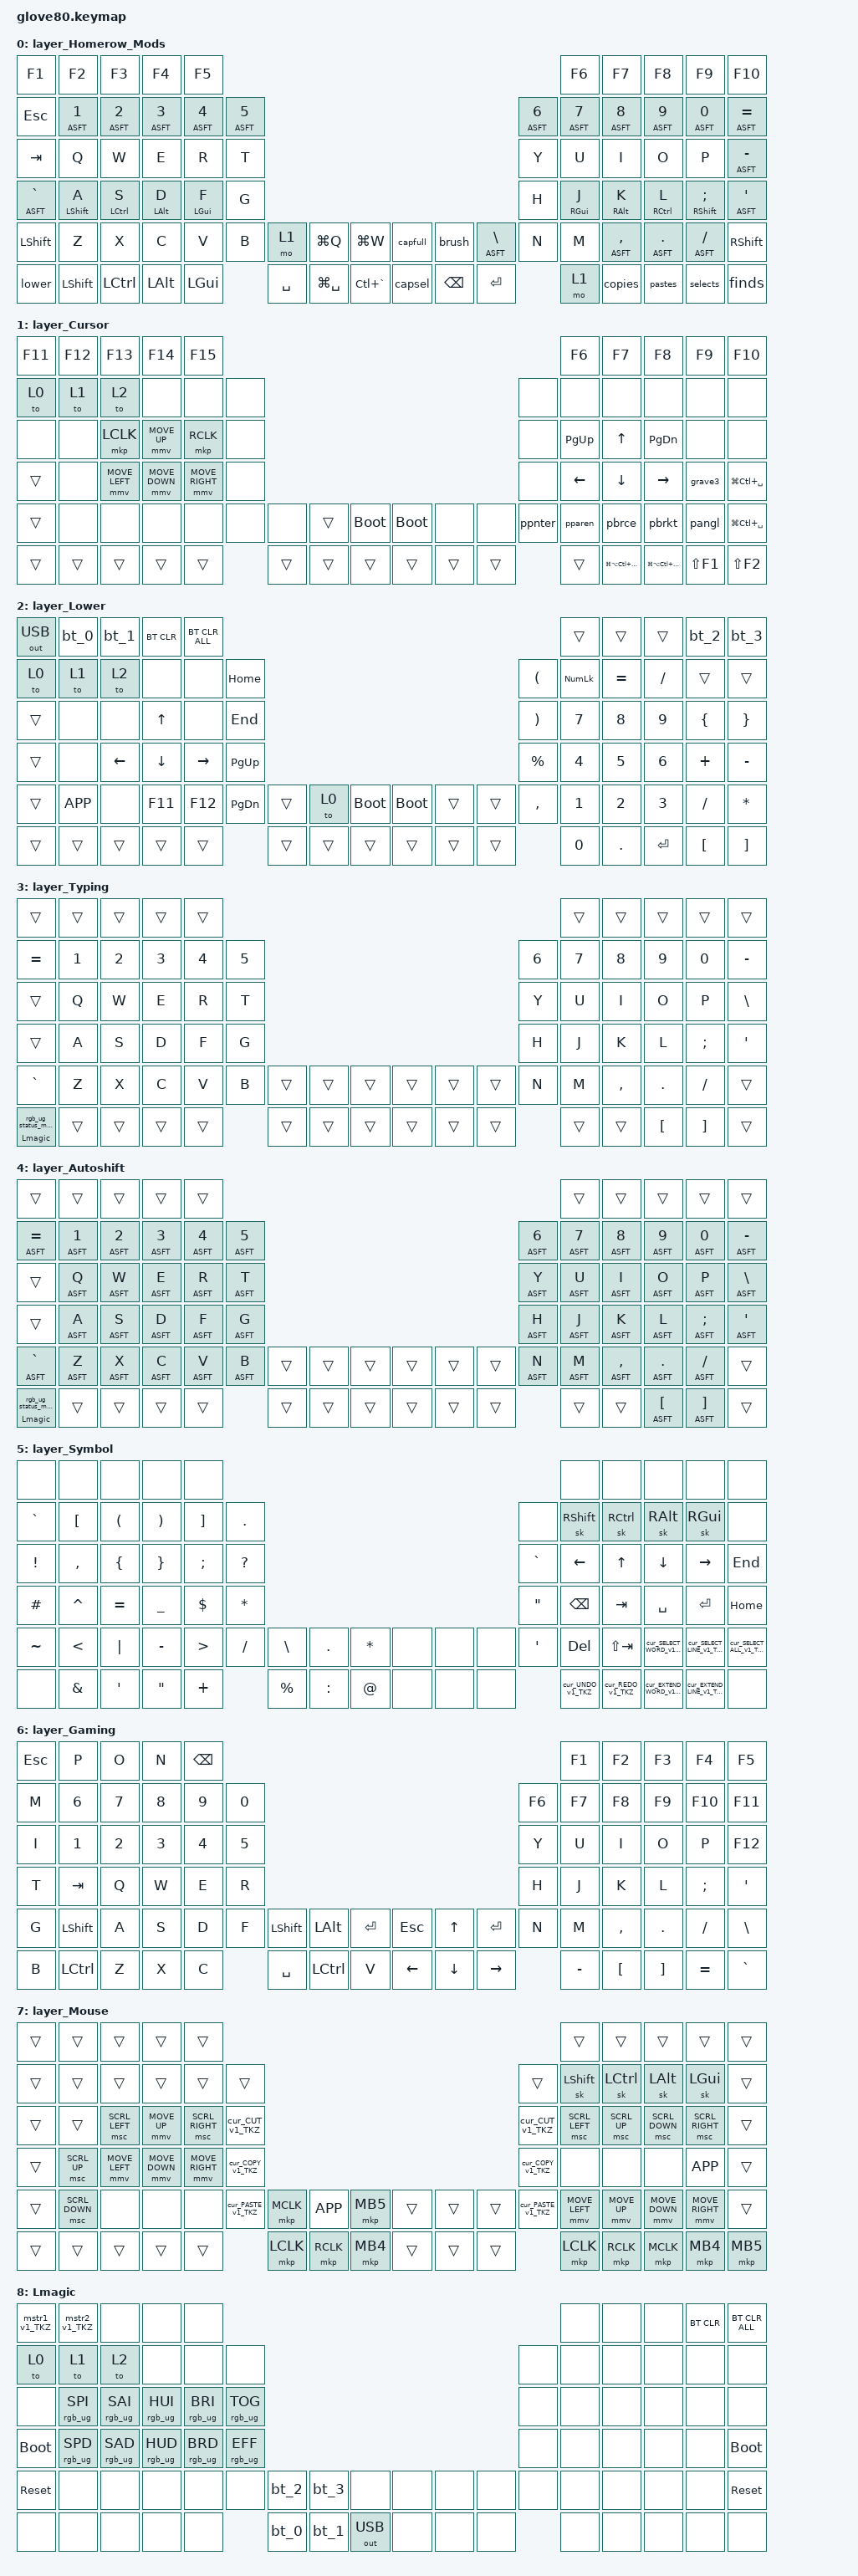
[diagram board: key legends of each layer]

/*
 * Copyright (c) 2020 The ZMK Contributors
 * Copyright (c) 2023 Innaworks Development Limited, trading as MoErgo
 *
 * SPDX-License-Identifier: MIT
 */


/* THIS FILE WAS GENERATED BY GLOVE80 LAYOUT EDITOR
 *
 * This file was generated automatically. You may or may not want to
 * edit it directly.
 */

#include <behaviors.dtsi>
/* Include all behavior includes needed */
#include <dt-bindings/zmk/outputs.h>
#include <dt-bindings/zmk/keys.h>
#include <dt-bindings/zmk/bt.h>
#include <dt-bindings/zmk/rgb.h>

/* On demand includes */
#include <dt-bindings/zmk/pointing.h>

/* Automatically generated layer name #define */
#define LAYER_Homerow_Mods 0
#define LAYER_Cursor 1
#define LAYER_Lower 2
#define LAYER_Typing 3
#define LAYER_Autoshift 4
#define LAYER_Symbol 5
#define LAYER_Gaming 6
#define LAYER_Mouse 7
#define Lmagic 8

/* To deal with the situation where there is no Lower layer, to keep &lower happy */
#ifndef LAYER_Lower
#define LAYER_Lower 0
#endif

/* Custom Device-tree */



/* Glove80 system behavior & macros */
/ {
    behaviors {
        // For the "layer" key, it'd nice to be able to use it as either a shift or a toggle.
        // Configure it as a tap dance, so the first tap (or hold) is a &mo and the second tap is a &to
        lower: lower {
            compatible = "zmk,behavior-tap-dance";
            label = "LAYER_TAP_DANCE";
            #binding-cells = <0>;
            tapping-term-ms = <200>;
            bindings = <&mo LAYER_Lower>, <&to LAYER_Lower>;
        };
    };
};

/ {
    behaviors {
        f1esc: f1esc {
            compatible = "zmk,behavior-tap-dance";
            #binding-cells = <0>;
            tapping-term-ms = <200>;
            bindings = <&kp F1>, <&kp ESC>;
        };
    };
};

/ {
    behaviors {
        f10undo: f10undo {
            compatible = "zmk,behavior-tap-dance";
            #binding-cells = <0>;
            tapping-term-ms = <200>;
            bindings = <&kp F10>, <&kp LG(Z)>;
        };
    };
};


/ {
    behaviors {
        copies: copies {
            compatible = "zmk,behavior-tap-dance";
            #binding-cells = <0>;
            tapping-term-ms = <200>;
            bindings = <&kp LG(C)>, <&kp LG(X)>;
        };
    };
};

/ {
    behaviors {
        pastes: pastes {
            compatible = "zmk,behavior-tap-dance";
            #binding-cells = <0>;
            tapping-term-ms = <200>;
            bindings = <&kp LG(V)>, <&kp LG(A)>;
        };
    };
};

/ {
    behaviors {
        selects: selects {
            compatible = "zmk,behavior-tap-dance";
            #binding-cells = <0>;
            tapping-term-ms = <200>;
            bindings = <&kp LG(LS(A))>, <&kp LG(LA(F))> ;
        };
    };
};


/ {
    behaviors {
        finds: finds {
            compatible = "zmk,behavior-tap-dance";
            #binding-cells = <0>;
            tapping-term-ms = <200>;
            bindings = <&kp LG(LS(F))>, <&kp LG(LS(H))>, <&kp LG(LA(F))>;
        };
    };
};

/ {
    behaviors {
        capsel: capsel {
            compatible = "zmk,behavior-tap-dance";
            #binding-cells = <0>;
            tapping-term-ms = <200>;
            bindings = <&kp LG(LC(DOLLAR))>, <&kp LG(DOLLAR)>, <&kp LG(PERCENT)>;
        };
    };
};

/ {
    behaviors {
        capfull: capfull {
            compatible = "zmk,behavior-tap-dance";
            #binding-cells = <0>;
            tapping-term-ms = <200>;
            bindings = <&kp LG(HASH)>, <&kp LG(LC(HASH))>, <&kp LG(PERCENT)>;
        };
    };
};


/ {
    behaviors {
        brush: brush {
            compatible = "zmk,behavior-tap-dance";
            #binding-cells = <0>;
            tapping-term-ms = <200>;
            bindings = <&kp LG(LA(LC(TAB)))>;
        };
    };
};

/ {
    macros {
        rgb_ug_status_macro: rgb_ug_status_macro {
            label = "RGB_UG_STATUS";
            compatible = "zmk,behavior-macro";
            #binding-cells = <0>;
            bindings
                = <&rgb_ug RGB_STATUS>;
        };
    };
};

/ {
    macros {
        ppnter: ppnter {
            compatible = "zmk,behavior-macro";
            #binding-cells = <0>;
            bindings
                = <&macro_tap &kp MINUS &kp GT>
                ;
        };
    };
};


/ {
    macros {
        pparen: pparen {
            compatible = "zmk,behavior-macro";
            #binding-cells = <0>;
            bindings = <&macro_tap &kp LPAR &kp RPAR &kp LEFT>
                ;
        };
    };
};

/ {
    macros {
        pbrkt: pbrkt {
            compatible = "zmk,behavior-macro";
            #binding-cells = <0>;
            bindings
                = <&macro_tap &kp LBKT &kp RBKT &kp LEFT>
                ;
        };
    };
};

/ {
    macros {
        pbrce: pbrce {
            compatible = "zmk,behavior-macro";
            #binding-cells = <0>;
            bindings
                = <&macro_tap &kp LBRC &kp RBRC &kp LEFT>
                ;
        };
    };
};

/ {
    macros {
        pangl: pangl {
            compatible = "zmk,behavior-macro";
            #binding-cells = <0>;
            bindings
                = <&macro_tap &kp LT &kp GT &kp LEFT>
                ;
        };
    };
};

/ {
    macros {
        grave3: grave3 {
            compatible = "zmk,behavior-macro";
            #binding-cells = <0>;
            bindings
                = <&macro_tap &kp GRAVE &kp GRAVE &kp GRAVE &kp RET>
                ;
        };
    };
};



/ {
#ifdef BT_DISC_CMD
    behaviors {
        bt_0: bt_0 {
            compatible = "zmk,behavior-tap-dance";
            label = "BT_0";
            #binding-cells = <0>;
            tapping-term-ms = <200>;
            bindings = <&bt_select_0>, <&bt BT_DISC 0>;
        };
        bt_1: bt_1 {
            compatible = "zmk,behavior-tap-dance";
            label = "BT_1";
            #binding-cells = <0>;
            tapping-term-ms = <200>;
            bindings = <&bt_select_1>, <&bt BT_DISC 1>;
        };
        bt_2: bt_2 {
            compatible = "zmk,behavior-tap-dance";
            label = "BT_2";
            #binding-cells = <0>;
            tapping-term-ms = <200>;
            bindings = <&bt_select_2>, <&bt BT_DISC 2>;
        };
        bt_3: bt_3 {
            compatible = "zmk,behavior-tap-dance";
            label = "BT_3";
            #binding-cells = <0>;
            tapping-term-ms = <200>;
            bindings = <&bt_select_3>, <&bt BT_DISC 3>;
        };
    };
    macros {
        bt_select_0: bt_select_0 {
            label = "BT_SELECT_0";
            compatible = "zmk,behavior-macro";
            #binding-cells = <0>;
            bindings
                = <&out OUT_BLE>,
                  <&bt BT_SEL 0>;
        };
        bt_select_1: bt_select_1 {
            label = "BT_SELECT_1";
            compatible = "zmk,behavior-macro";
            #binding-cells = <0>;
            bindings
                = <&out OUT_BLE>,
                  <&bt BT_SEL 1>;
        };
        bt_select_2: bt_select_2 {
            label = "BT_SELECT_2";
            compatible = "zmk,behavior-macro";
            #binding-cells = <0>;
            bindings
                = <&out OUT_BLE>,
                  <&bt BT_SEL 2>;
        };
        bt_select_3: bt_select_3 {
            label = "BT_SELECT_3";
            compatible = "zmk,behavior-macro";
            #binding-cells = <0>;
            bindings
                = <&out OUT_BLE>,
                  <&bt BT_SEL 3>;
        };
    };
#else
    macros {
        bt_0: bt_0 {
            label = "BT_0";
            compatible = "zmk,behavior-macro";
            #binding-cells = <0>;
            bindings
                = <&out OUT_BLE>,
                  <&bt BT_SEL 0>;
        };
        bt_1: bt_1 {
            label = "BT_1";
            compatible = "zmk,behavior-macro";
            #binding-cells = <0>;
            bindings
                = <&out OUT_BLE>,
                  <&bt BT_SEL 1>;
        };
        bt_2: bt_2 {
            label = "BT_2";
            compatible = "zmk,behavior-macro";
            #binding-cells = <0>;
            bindings
                = <&out OUT_BLE>,
                  <&bt BT_SEL 2>;
        };
        bt_3: bt_3 {
            label = "BT_3";
            compatible = "zmk,behavior-macro";
            #binding-cells = <0>;
            bindings
                = <&out OUT_BLE>,
                  <&bt BT_SEL 3>;
        };
    };
#endif
};

/ {
    behaviors {
        magic: magic {
            compatible = "zmk,behavior-hold-tap";
            label = "MAGIC_HOLD_TAP";
            #binding-cells = <2>;
            flavor = "tap-preferred";
            tapping-term-ms = <200>;
            bindings = <&mo>, <&rgb_ug_status_macro>;
        };
    };
};

/* #define for key positions */
#define POS_LH_T1 52
#define POS_LH_T2 53
#define POS_LH_T3 54
#define POS_LH_T4 69
#define POS_LH_T5 70
#define POS_LH_T6 71
#define POS_LH_C1R2 15
#define POS_LH_C1R3 27
#define POS_LH_C1R4 39
#define POS_LH_C1R5 51
#define POS_LH_C2R1 4
#define POS_LH_C2R2 14
#define POS_LH_C2R3 26
#define POS_LH_C2R4 38
#define POS_LH_C2R5 50
#define POS_LH_C2R6 68
#define POS_LH_C3R1 3
#define POS_LH_C3R2 13
#define POS_LH_C3R3 25
#define POS_LH_C3R4 37
#define POS_LH_C3R5 49
#define POS_LH_C3R6 67
#define POS_LH_C4R1 2
#define POS_LH_C4R2 12
#define POS_LH_C4R3 24
#define POS_LH_C4R4 36
#define POS_LH_C4R5 48
#define POS_LH_C4R6 66
#define POS_LH_C5R1 1
#define POS_LH_C5R2 11
#define POS_LH_C5R3 23
#define POS_LH_C5R4 35
#define POS_LH_C5R5 47
#define POS_LH_C5R6 65
#define POS_LH_C6R1 0
#define POS_LH_C6R2 10
#define POS_LH_C6R3 22
#define POS_LH_C6R4 34
#define POS_LH_C6R5 46
#define POS_LH_C6R6 64
#define POS_RH_T1 57
#define POS_RH_T2 56
#define POS_RH_T3 55
#define POS_RH_T4 74
#define POS_RH_T5 73
#define POS_RH_T6 72
#define POS_RH_C1R2 16
#define POS_RH_C1R3 28
#define POS_RH_C1R4 40
#define POS_RH_C1R5 58
#define POS_RH_C2R1 5
#define POS_RH_C2R2 17
#define POS_RH_C2R3 29
#define POS_RH_C2R4 41
#define POS_RH_C2R5 59
#define POS_RH_C2R6 75
#define POS_RH_C3R1 6
#define POS_RH_C3R2 18
#define POS_RH_C3R3 30
#define POS_RH_C3R4 42
#define POS_RH_C3R5 60
#define POS_RH_C3R6 76
#define POS_RH_C4R1 7
#define POS_RH_C4R2 19
#define POS_RH_C4R3 31
#define POS_RH_C4R4 43
#define POS_RH_C4R5 61
#define POS_RH_C4R6 77
#define POS_RH_C5R1 8
#define POS_RH_C5R2 20
#define POS_RH_C5R3 32
#define POS_RH_C5R4 44
#define POS_RH_C5R5 62
#define POS_RH_C5R6 78
#define POS_RH_C6R1 9
#define POS_RH_C6R2 21
#define POS_RH_C6R3 33
#define POS_RH_C6R4 45
#define POS_RH_C6R5 63
#define POS_RH_C6R6 79

/* Custom Defined Behaviors */
/ {

};

/* Automatically generated macro definitions */
/ {
    macros {

        // AutoShift Helper- &AS main macro is chained to &AS_HT hold tap and &AS_Shifted macro - TailorKey
        AS_Shifted_v1_TKZ: AS_Shifted_v1_TKZ {
            label = "&AS_SHIFTED_V1_TKZ";
            compatible = "zmk,behavior-macro-one-param";
            #binding-cells = <1>;
            bindings = <&macro_press>
                , <&kp LSHFT>
                , <&macro_tap>
                , <&macro_param_1to1>
                , <&kp N1>
                , <&macro_release>
                , <&kp LSHFT>;
        };

        // AutoShift (Assign &AS to a Key) - &AS main macro is chained to &AS_HT hold tap and &AS_Shifted macro - TailorKey
        ASFT: ASFT {
            label = "&ASFT";
            compatible = "zmk,behavior-macro-one-param";
            #binding-cells = <1>;
            tap-ms = <10>;
            wait-ms = <10>;
            bindings = <&macro_press>
                , <&macro_param_1to1>
                , <&macro_param_1to2>
                , <&AS_HT_v2_TKZ A A>
                , <&macro_pause_for_release>
                , <&macro_release>
                , <&macro_param_1to1>
                , <&macro_param_1to2>
                , <&AS_HT_v2_TKZ A A>;
        };

        // Cursor Layer - Copy (Ctrl C) - TailorKey
        cur_COPY_v1_TKZ: cur_COPY_v1_TKZ {
            label = "&CUR_COPY_V1_TKZ";
            compatible = "zmk,behavior-macro";
            #binding-cells = <0>;
            bindings = <&kp LC(C)>;
        };

        // Cursor Layer - Cut (Ctrl X) - TailorKey
        cur_CUT_v1_TKZ: cur_CUT_v1_TKZ {
            label = "&CUR_CUT_V1_TKZ";
            compatible = "zmk,behavior-macro";
            #binding-cells = <0>;
            bindings = <&kp LC(X)>;
        };

        // Cursor Layer - Extent Line (seq) - TailorKey
        cur_EXTEND_LINE_v1_TKZ: cur_EXTEND_LINE_v1_TKZ {
            label = "&CUR_EXTEND_LINE_V1_TKZ";
            compatible = "zmk,behavior-macro";
            #binding-cells = <0>;
            tap-ms = <1>;
            wait-ms = <1>;
            bindings = <&kp LS(END)>;
        };

        // Cursor Layer - Extend Word (seq) - TailorKey
        cur_EXTEND_WORD_v1_TKZ: cur_EXTEND_WORD_v1_TKZ {
            label = "&CUR_EXTEND_WORD_V1_TKZ";
            compatible = "zmk,behavior-macro";
            #binding-cells = <0>;
            tap-ms = <1>;
            wait-ms = <1>;
            bindings = <&kp LC(LS(RIGHT))>;
        };

        // Cursor Layer - Find (Ctrl F) - TailorKey
        cur_FIND_v1_TKZ: cur_FIND_v1_TKZ {
            label = "&CUR_FIND_V1_TKZ";
            compatible = "zmk,behavior-macro";
            #binding-cells = <0>;
            bindings = <&kp LC(F)>;
        };

        // Cursor Layer - Find Next (Ctrl G) - TailorKey
        cur_FNEXT_v1_TKZ: cur_FNEXT_v1_TKZ {
            label = "&CUR_FNEXT_V1_TKZ";
            compatible = "zmk,behavior-macro";
            #binding-cells = <0>;
            bindings = <&kp LC(G)>;
        };

        // Cursor Layer - Find Prev (Ctrl Shift G) - TailorKey
        cur_FPREV_v1_TKZ: cur_FPREV_v1_TKZ {
            label = "&CUR_FPREV_V1_TKZ";
            compatible = "zmk,behavior-macro";
            #binding-cells = <0>;
            bindings = <&kp LS(LC(G))>;
        };

        // Cursor Layer - Paste (Ctrl V) - TailorKey
        cur_PASTE_v1_TKZ: cur_PASTE_v1_TKZ {
            label = "&CUR_PASTE_V1_TKZ";
            compatible = "zmk,behavior-macro";
            #binding-cells = <0>;
            bindings = <&kp LC(V)>;
        };

        // Cursor Layer - Redo (Ctrl Y) - TailorKey
        cur_REDO_v1_TKZ: cur_REDO_v1_TKZ {
            label = "&CUR_REDO_V1_TKZ";
            compatible = "zmk,behavior-macro";
            #binding-cells = <0>;
            bindings = <&kp LC(Y)>;
        };

        // Cursor Layer - Selest All (Ctrl A) - TailorKey
        cur_SELECT_ALL_v1_TKZ: cur_SELECT_ALL_v1_TKZ {
            label = "&CUR_SELECT_ALL_V1_TKZ";
            compatible = "zmk,behavior-macro";
            #binding-cells = <0>;
            bindings = <&kp LC(A)>;
        };

        // Cursor Layer - Select Line (seq) - TailorKey
        cur_SELECT_LINE_v1_TKZ: cur_SELECT_LINE_v1_TKZ {
            label = "&CUR_SELECT_LINE_V1_TKZ";
            compatible = "zmk,behavior-macro";
            #binding-cells = <0>;
            tap-ms = <1>;
            wait-ms = <1>;
            bindings = <&kp HOME>
                , <&kp LS(END)>;
        };

        // Cursor Layer - Select None (seq) - TailorKey
        cur_SELECT_NONE_v1_TKZ: cur_SELECT_NONE_v1_TKZ {
            label = "&CUR_SELECT_NONE_V1_TKZ";
            compatible = "zmk,behavior-macro";
            #binding-cells = <0>;
            tap-ms = <1>;
            wait-ms = <1>;
            bindings = <&kp DOWN>
                , <&kp UP>
                , <&kp RIGHT>
                , <&kp LEFT>;
        };

        // Cursor Layer - Select Word (seq) - TailorKey
        cur_SELECT_WORD_v1_TKZ: cur_SELECT_WORD_v1_TKZ {
            label = "&CUR_SELECT_WORD_V1_TKZ";
            compatible = "zmk,behavior-macro";
            #binding-cells = <0>;
            tap-ms = <1>;
            wait-ms = <1>;
            bindings = <&kp LC(LEFT)>
                , <&kp LC(LS(RIGHT))>;
        };

        // Cursor Layer - Undo (Ctrl Z) - TailorKey
        cur_UNDO_v1_TKZ: cur_UNDO_v1_TKZ {
            label = "&CUR_UNDO_V1_TKZ";
            compatible = "zmk,behavior-macro";
            #binding-cells = <0>;
            bindings = <&kp LC(Z)>;
        };

        // mod_tab_switcher_chord -  TailorKey
        mod_tab_chord_v2_TKZ: mod_tab_chord_v2_TKZ {
            label = "&MOD_TAB_CHORD_V2_TKZ";
            compatible = "zmk,behavior-macro-two-param";
            #binding-cells = <2>;
            tap-ms = <0>;
            wait-ms = <0>;
            bindings = <&macro_press>
                , <&macro_param_2to1>
                , <&mo MACRO_PLACEHOLDER>
                , <&macro_press>
                , <&macro_param_1to1>
                , <&mod_tab_v2_TKZ MACRO_PLACEHOLDER>
                , <&macro_pause_for_release>
                , <&macro_release>
                , <&macro_param_1to1>
                , <&mod_tab_v2_TKZ MACRO_PLACEHOLDER>
                , <&macro_release>
                , <&macro_param_2to1>
                , <&mo MACRO_PLACEHOLDER>;
        };

        // mod_tab_switcher - TailorKey
        //
        //
        mod_tab_v2_TKZ: mod_tab_v2_TKZ {
            label = "&MOD_TAB_V2_TKZ";
            compatible = "zmk,behavior-macro-one-param";
            #binding-cells = <1>;
            tap-ms = <0>;
            wait-ms = <0>;
            bindings = <&macro_press>
                , <&macro_param_1to1>
                , <&kp MACRO_PLACEHOLDER>
                , <&macro_tap>
                , <&kp TAB>
                , <&macro_pause_for_release>
                , <&macro_release>
                , <&macro_param_1to1>
                , <&kp MACRO_PLACEHOLDER>;
        };

        // macro string1 sample - Magic Layer F1 - Text output sample macro 1 "¡Hola!" - TailorKey
        mstr1_v1_TKZ: mstr1_v1_TKZ {
            label = "&MSTR1_V1_TKZ";
            compatible = "zmk,behavior-macro";
            #binding-cells = <0>;
            bindings = <&macro_press>
                , <&kp RALT>
                , <&macro_tap>
                , <&kp KP_N0>
                , <&kp KP_N1>
                , <&kp KP_N6>
                , <&kp KP_N1>
                , <&macro_release>
                , <&kp RALT>
                , <&macro_press>
                , <&kp LSHFT>
                , <&macro_tap>
                , <&kp H>
                , <&macro_release>
                , <&kp LSHFT>
                , <&macro_tap>
                , <&kp O>
                , <&kp L>
                , <&kp A>
                , <&kp EXCL>
                , <&kp SPACE>
                , <&kp RET>;
        };

        // macro string2 sample - Magic Layer F2 - Text output sample macro 2 "grammar check: <paste>" - TailorKey
        mstr2_v1_TKZ: mstr2_v1_TKZ {
            label = "&MSTR2_V1_TKZ";
            compatible = "zmk,behavior-macro";
            #binding-cells = <0>;
            bindings = <&macro_tap>
                , <&kp G>
                , <&kp R>
                , <&kp A>
                , <&kp M>
                , <&kp M>
                , <&kp A>
                , <&kp R>
                , <&kp SPACE>
                , <&kp C>
                , <&kp H>
                , <&kp E>
                , <&kp C>
                , <&kp K>
                , <&kp COLON>
                , <&kp LC(V)>
                , <&kp RET>;
        };
    };
};

/* Automatically generated behavior definitions */
/ {
    behaviors {

        // AutoShift Helper - &AS main macro is chained to &AS_HT hold tap and &AS_Shifted macro. For faster typists, it is recommended to decrease the tapping-term-ms value. A suggested value is 135 ms.
        // More: https://github.com/nickcoutsos/keymap-editor/wiki/Autoshift-using-ZMK-behaviors
        AS_HT_v2_TKZ: AS_HT_v2_TKZ {
            compatible = "zmk,behavior-hold-tap";
            #binding-cells = <2>;
            tapping-term-ms = <190>;
            bindings = <&AS_Shifted_v1_TKZ>, <&kp>;
            flavor = "tap-preferred";
        };

        // Capsword helper - tap for caps_word - hold for key press
        CAPSWord_v1_TKZ: CAPSWord_v1_TKZ {
            compatible = "zmk,behavior-hold-tap";
            #binding-cells = <2>;
            tapping-term-ms = <200>;
            bindings = <&kp>, <&caps_word>;
        };

        // Homerow Mod for the left index finger - TailorKey.
        // For advanced tuning of HRM values, see: https://docs.google.com/spreadsheets/d/1ESgObQelyz4lnKlfwLYsmofLJulOMK5RdGBsopLe2o8
        HR_L2: HR_L2 {
            compatible = "zmk,behavior-hold-tap";
            #binding-cells = <2>;
            tapping-term-ms = <221>;
            bindings = <&kp>, <&kp>;
            flavor = "tap-preferred";
            quick-tap-ms = <300>;
            require-prior-idle-ms = <200>;
            hold-trigger-key-positions = <57 56 55 72 73 74 5 6 7 8 16 17 18 19 20 28 29 30 31 32 40 41 42 43 44 58 59 60 61 62 75 76 77 78 9 21 33 45 63 79 52 53 54 70 71 69>;
            hold-trigger-on-release;
        };

        // Homerow Mod for the left middle finger - TailorKey
        HR_L3: HR_L3 {
            compatible = "zmk,behavior-hold-tap";
            #binding-cells = <2>;
            tapping-term-ms = <221>;
            bindings = <&kp>, <&kp>;
            flavor = "tap-preferred";
            quick-tap-ms = <300>;
            require-prior-idle-ms = <300>;
            hold-trigger-key-positions = <57 56 55 72 73 74 5 6 7 8 16 17 18 19 20 28 29 30 31 32 40 41 42 43 44 58 59 60 61 62 75 76 77 78 9 21 33 45 63 79 52 53 54 69 70 71>;
            hold-trigger-on-release;
        };

        // Homerow Mod for the left ring finger 1 - TailorKey
        HR_L4: HR_L4 {
            compatible = "zmk,behavior-hold-tap";
            #binding-cells = <2>;
            tapping-term-ms = <221>;
            bindings = <&kp>, <&kp>;
            flavor = "tap-preferred";
            quick-tap-ms = <300>;
            require-prior-idle-ms = <300>;
            hold-trigger-key-positions = <57 56 55 72 73 74 5 6 7 8 16 17 18 19 20 28 29 30 31 32 40 41 42 43 44 58 59 60 61 62 75 76 77 78 9 21 33 45 63 79 52 53 54 69 70 71>;
            hold-trigger-on-release;
        };

        // Homerow Mod for the left pinky - TailorKey
        HR_L5: HR_L5 {
            compatible = "zmk,behavior-hold-tap";
            #binding-cells = <2>;
            tapping-term-ms = <221>;
            bindings = <&kp>, <&kp>;
            flavor = "tap-preferred";
            quick-tap-ms = <300>;
            require-prior-idle-ms = <300>;
            hold-trigger-key-positions = <57 56 55 72 73 74 5 6 7 8 9 16 17 18 19 20 21 29 30 31 32 33 42 43 44 45 60 61 62 63 28 40 41 58 59 75 76 77 79 78 52 53 54 69 70 71>;
            hold-trigger-on-release;
        };

        // Homerow Mod for the right index finger - TailorKey
        HR_R2: HR_R2 {
            compatible = "zmk,behavior-hold-tap";
            #binding-cells = <2>;
            tapping-term-ms = <221>;
            bindings = <&kp>, <&kp>;
            flavor = "tap-preferred";
            quick-tap-ms = <300>;
            require-prior-idle-ms = <200>;
            hold-trigger-key-positions = <52 53 54 71 70 69 0 1 10 11 12 13 14 22 23 24 25 26 27 34 35 36 37 38 39 46 47 48 49 50 51 64 65 66 67 68 15 4 2 3 55 56 57 72 73 74>;
            hold-trigger-on-release;
        };

        // Homerow Mod for the right middle finger - TailorKey
        HR_R3: HR_R3 {
            compatible = "zmk,behavior-hold-tap";
            #binding-cells = <2>;
            tapping-term-ms = <221>;
            bindings = <&kp>, <&kp>;
            flavor = "tap-preferred";
            quick-tap-ms = <300>;
            require-prior-idle-ms = <300>;
            hold-trigger-key-positions = <52 53 54 71 70 69 0 1 10 11 12 13 14 22 23 24 25 26 27 34 35 36 37 38 39 46 47 48 49 50 51 64 65 66 67 68 15 4 2 3 55 56 57 72 73 74>;
            hold-trigger-on-release;
        };

        // Homerow Mod for the right pinky - TailorKey
        HR_R5: HR_R5 {
            compatible = "zmk,behavior-hold-tap";
            #binding-cells = <2>;
            tapping-term-ms = <221>;
            bindings = <&kp>, <&kp>;
            flavor = "tap-preferred";
            quick-tap-ms = <300>;
            require-prior-idle-ms = <300>;
            hold-trigger-key-positions = <52 53 54 71 70 69 0 1 10 11 12 13 14 22 23 24 25 26 27 34 35 36 37 38 39 46 47 48 49 50 51 64 65 66 67 68 15 4 2 3 55 56 57 72 73 74>;
            hold-trigger-on-release;
        };

        // Homerow Mod for the right ring 1 - TailorKey
        //
        HR_R4: HR_R4 {
            compatible = "zmk,behavior-hold-tap";
            #binding-cells = <2>;
            tapping-term-ms = <221>;
            bindings = <&kp>, <&kp>;
            flavor = "tap-preferred";
            quick-tap-ms = <300>;
            require-prior-idle-ms = <300>;
            hold-trigger-key-positions = <52 53 54 71 70 69 0 1 10 11 12 13 14 22 23 24 25 26 27 34 35 36 37 38 39 46 47 48 49 50 51 64 65 66 67 68 15 4 2 3 55 56 57 72 73 74>;
            hold-trigger-on-release;
        };

        // space_layer_access - TailorKey
        space_v2_TKZ: space_v2_TKZ {
            compatible = "zmk,behavior-hold-tap";
            #binding-cells = <2>;
            tapping-term-ms = <150>;
            bindings = <&mo>, <&kp>;
            flavor = "balanced";
            quick-tap-ms = <150>;
            retro-tap;
        };

        // thumb_layer_access - TailorKey
        thumb_v2_TKZ: thumb_v2_TKZ {
            compatible = "zmk,behavior-hold-tap";
            #binding-cells = <2>;
            tapping-term-ms = <200>;
            bindings = <&mo>, <&kp>;
            flavor = "balanced";
            quick-tap-ms = <300>;
        };
    };
};

/* Automatically generated combos definitions */
/ {
      combos {
          compatible = "zmk,combos";
                  // Calls macro tab_switcher_gui_combo on Left T1/T4 - TailorKey
        combo_alt_tab_switch_v1_TKZ {
            timeout-ms = <50>;
            key-positions = <69 52>;
            bindings = <&mod_tab_chord_v2_TKZ LALT 5>;
        };

        // Calls macro tab_switcher_ctrl_combo on Left T4/T5 - TailorKey
        combo_ctrl_tab_switch_v1_TKZ {
            timeout-ms = <50>;
            key-positions = <69 70>;
            bindings = <&mod_tab_chord_v2_TKZ LCTRL 5>;
        };

        // sticky "meh" modifiers (Alt + Ctrl + Shift) - TailorKey
        combo_sticky_meh_rght_v1_TKZ {
            timeout-ms = <50>;
            key-positions = <73 74>;
            bindings = <&sk LA(LC(LSHFT))>;
        };

        // sticky "hyper" modifiers (Win + Alt + Ctrl + Shift) - TailorKey
        combo_sticky_hyp_rght_v1_TKZ {
            timeout-ms = <50>;
            key-positions = <74 57>;
            bindings = <&sk LG(LA(LC(LSHFT)))>;
        };

        // F12 on RH_C6 and RH_R1+R2 - TailorKey
        combo_F12_v1_TKZ {
            timeout-ms = <50>;
            key-positions = <9 21>;
            bindings = <&kp F12>;
        };

        // F11 on RH_C5 and RH_R1+R2 - TailorKey
        combo_F11_v1_TKZ {
            timeout-ms = <50>;
            key-positions = <8 20>;
            bindings = <&kp F11>;
        };

        // capslock when pressing both T1's - TailorKey
        combo_capslock_v1_TKZ {
            timeout-ms = <50>;
            key-positions = <52 57>;
            bindings = <&kp CAPS>;
        };

        // sticky "AltGr" left - TailorKey
        combo_sticky_AltGr_left_v1_TKZ {
            timeout-ms = <50>;
            key-positions = <70 53>;
            bindings = <&sk RALT>;
        };

        // sticky "AltGr" right - TailorKey
        combo_sticky_AltGr_right_v1_TKZ {
            timeout-ms = <50>;
            key-positions = <56 73>;
            bindings = <&sk RALT>;
        };

        // toggle gaming layer - TailorKey
        combo_gaming_layer_v1_TKZ {
            timeout-ms = <50>;
            key-positions = <54 71>;
            bindings = <&tog 5>;
        };
      };
    };

/* Automatically generated keymap */
/ {
    keymap {
        compatible = "zmk,keymap";

        // porce
layer_Homerow_Mods {
bindings = <
&kp F1       &kp F2          &kp F3          &kp F4         &kp F5                                                                                                    &kp F6         &kp F7         &kp F8          &kp F9             &kp F10
&kp ESC      &ASFT N1        &ASFT N2        &ASFT N3       &ASFT N4       &ASFT N5                                                                          &ASFT N6 &ASFT N7       &ASFT N8       &ASFT N9        &ASFT N0           &ASFT EQUAL
&kp TAB      &kp Q           &kp W           &kp E          &kp R          &kp T                                                                             &kp Y    &kp U          &kp I          &kp O           &kp P              &ASFT MINUS
&ASFT GRAVE  &HR_L5 LSHFT A  &HR_L4 LCTRL S  &HR_L3 LALT D  &HR_L2 LGUI F  &kp G                                                                             &kp H    &HR_R2 RGUI J  &HR_R3 RALT K  &HR_R4 RCTRL L  &HR_R5 RSHFT SEMI  &ASFT SQT
&kp LSHFT    &kp Z           &kp X           &kp C          &kp V          &kp B    &mo 1      &kp LG(Q)      &kp LG(W)     &capfull   &brush    &ASFT BSLH  &kp N    &kp M          &ASFT COMMA    &ASFT DOT       &ASFT FSLH         &kp RSHFT
&lower       &kp LSHFT       &kp LCTRL       &kp LALT       &kp LGUI                &kp SPACE  &kp LG(SPACE)  &kp LC(GRAVE) &capsel    &kp BSPC  &kp RET              &mo 1          &copies        &pastes         &selects           &finds
>;
};

layer_Cursor {
bindings = <
&kp F11  &kp F12 &kp F13        &kp F14        &kp F15                                                                                       &kp F6         &kp F7         &kp F8         &kp F9         &kp F10
&to 0    &to 1   &to 2          &none          &none           &none                                                                 &none   &none          &none          &none          &none          &none
&none    &none   &mkp LCLK      &mmv MOVE_UP   &mkp RCLK       &none                                                                 &none   &kp PG_UP      &kp UP         &kp PG_DN      &none          &none
&trans   &none   &mmv MOVE_LEFT &mmv MOVE_DOWN &mmv MOVE_RIGHT &none                                                                 &none   &kp LEFT       &kp DOWN       &kp RIGHT      &grave3        &kp LG(LC(SPACE))
&trans   &none   &none          &none          &none           &none           &none  &trans &bootloader &bootloader &none  &none    &ppnter &pparen        &pbrce         &pbrkt         &pangl                    &kp LG(LC(SPACE))
&trans   &trans  &trans         &trans         &trans                          &trans &trans &trans      &trans      &trans &trans           &trans         &kp LG(LA(LC(LS(UP))))    &kp LG(LA(LC(LS(DOWN))))      &kp LS(F1)  &kp LS(F2)
>;
};

layer_Lower {
bindings = <
&out OUT_USB   &bt_0    &bt_1       &bt BT_CLR       &bt BT_CLR_ALL                                                                                             &trans        &trans        &trans         &bt_2        &bt_3
&to 0    &to 1       &to 2          &none            &none            &kp HOME                                                          &kp LEFT_PARENTHESIS    &kp KP_NUM    &kp EQUAL     &kp SLASH   &trans       &trans    
&trans   &none       &none          &kp UP_ARROW     &none            &kp END                                                           &kp RIGHT_PARENTHESIS   &kp N7     &kp N8     &kp N9      &kp LBRC  &kp RBRC
&trans   &none       &kp LEFT_ARROW &kp DOWN_ARROW   &kp RIGHT_ARROW  &kp PG_UP                                                         &kp PERCENT             &kp N4     &kp N5     &kp N6      &kp PLUS  &kp MINUS
&trans   &kp K_APP   &none          &kp F11          &kp F12          &kp PG_DN  &trans &to 0  &bootloader &bootloader &trans  &trans   &kp COMMA               &kp N1     &kp N2     &kp N3      &kp SLASH &kp ASTERISK
&trans   &trans      &trans         &trans           &trans                      &trans &trans &trans      &trans      &trans  &trans                           &kp N0     &kp DOT    &kp ENTER   &kp LBKT  &kp RBKT
>;
};

        layer_Typing {
            bindings = <
               &trans  &trans  &trans  &trans  &trans                                                                  &trans     &trans    &trans    &trans     &trans
            &kp EQUAL  &kp N1  &kp N2  &kp N3  &kp N4  &kp N5                                                  &kp N6  &kp N7     &kp N8    &kp N9    &kp N0  &kp MINUS
               &trans   &kp Q   &kp W   &kp E   &kp R   &kp T                                                   &kp Y   &kp U      &kp I     &kp O     &kp P   &kp BSLH
               &trans   &kp A   &kp S   &kp D   &kp F   &kp G                                                   &kp H   &kp J      &kp K     &kp L  &kp SEMI    &kp SQT
            &kp GRAVE   &kp Z   &kp X   &kp C   &kp V   &kp B  &trans  &trans  &trans  &trans  &trans  &trans   &kp N   &kp M  &kp COMMA   &kp DOT  &kp FSLH     &trans
 &magic Lmagic 0  &trans  &trans  &trans  &trans          &trans  &trans  &trans  &trans  &trans  &trans          &trans     &trans  &kp LBKT  &kp RBKT     &trans
            >;
        };

        layer_Autoshift {
            bindings = <
               &trans         &trans         &trans         &trans         &trans                                                                                       &trans            &trans           &trans           &trans            &trans
     &ASFT EQUAL  &ASFT N1  &ASFT N2  &ASFT N3  &ASFT N4  &ASFT N5                                                  &ASFT N6  &ASFT N7     &ASFT N8    &ASFT N9    &ASFT N0  &ASFT MINUS
               &trans   &ASFT Q   &ASFT W   &ASFT E   &ASFT R   &ASFT T                                                   &ASFT Y   &ASFT U      &ASFT I     &ASFT O     &ASFT P   &ASFT BSLH
               &trans   &ASFT A   &ASFT S   &ASFT D   &ASFT F   &ASFT G                                                   &ASFT H   &ASFT J      &ASFT K     &ASFT L  &ASFT SEMI    &ASFT SQT
     &ASFT GRAVE   &ASFT Z   &ASFT X   &ASFT C   &ASFT V   &ASFT B  &trans  &trans  &trans  &trans  &trans  &trans   &ASFT N   &ASFT M  &ASFT COMMA   &ASFT DOT  &ASFT FSLH            &trans
 &magic Lmagic 0         &trans         &trans         &trans         &trans                 &trans  &trans  &trans  &trans  &trans  &trans                        &trans            &trans  &ASFT LBKT  &ASFT RBKT            &trans
            >;
        };


        layer_Symbol {
            bindings = <
     &none      &none      &none      &none     &none                                                                                           &none             &none                    &none                    &none                   &none
 &kp GRAVE   &kp LBKT   &kp LPAR   &kp RPAR  &kp RBKT    &kp DOT                                                              &none         &sk RSHFT         &sk RCTRL                 &sk RALT                 &sk RGUI                   &none
  &kp EXCL  &kp COMMA   &kp LBRC   &kp RBRC  &kp SEMI  &kp QMARK                                                          &kp GRAVE          &kp LEFT            &kp UP                 &kp DOWN                &kp RIGHT                 &kp END
  &kp HASH  &kp CARET  &kp EQUAL  &kp UNDER  &kp DLLR   &kp STAR                                                            &kp DQT          &kp BSPC           &kp TAB                &kp SPACE                  &kp RET                &kp HOME
 &kp TILDE     &kp LT   &kp PIPE  &kp MINUS    &kp GT   &kp FSLH   &kp BSLH    &kp DOT  &kp STAR   &none   &none   &none    &kp SQT           &kp DEL       &kp LS(TAB)  &cur_SELECT_WORD_v1_TKZ  &cur_SELECT_LINE_v1_TKZ  &cur_SELECT_ALL_v1_TKZ
     &none   &kp AMPS    &kp SQT    &kp DQT  &kp PLUS             &kp PRCNT  &kp COLON    &kp AT   &none   &none   &none             &cur_UNDO_v1_TKZ  &cur_REDO_v1_TKZ  &cur_EXTEND_WORD_v1_TKZ  &cur_EXTEND_LINE_v1_TKZ                   &none
            >;
        };

        layer_Gaming {
            bindings = <
 &kp ESC      &kp P   &kp O   &kp N  &kp BSPC                                                                                   &kp F1     &kp F2    &kp F3     &kp F4     &kp F5
   &kp M     &kp N6  &kp N7  &kp N8    &kp N9  &kp N0                                                                &kp F6     &kp F7     &kp F8    &kp F9    &kp F10    &kp F11
   &kp I     &kp N1  &kp N2  &kp N3    &kp N4  &kp N5                                                                 &kp Y      &kp U      &kp I     &kp O      &kp P    &kp F12
   &kp T    &kp TAB   &kp Q   &kp W     &kp E   &kp R                                                                 &kp H      &kp J      &kp K     &kp L   &kp SEMI    &kp SQT
   &kp G  &kp LSHFT   &kp A   &kp S     &kp D   &kp F  &kp LSHFT   &kp LALT  &kp RET   &kp ESC    &kp UP    &kp RET   &kp N      &kp M  &kp COMMA   &kp DOT   &kp FSLH   &kp BSLH
   &kp B  &kp LCTRL   &kp Z   &kp X     &kp C          &kp SPACE  &kp LCTRL    &kp V  &kp LEFT  &kp DOWN  &kp RIGHT          &kp MINUS   &kp LBKT  &kp RBKT  &kp EQUAL  &kp GRAVE
            >;
        };


        layer_Mouse {
            bindings = <
 &trans          &trans          &trans          &trans           &trans                                                                                                        &trans        &trans          &trans           &trans    &trans
 &trans          &trans          &trans          &trans           &trans             &trans                                                                     &trans       &sk LSHFT     &sk LCTRL        &sk LALT         &sk LGUI    &trans
 &trans          &trans  &msc SCRL_LEFT    &mmv MOVE_UP  &msc SCRL_RIGHT    &cur_CUT_v1_TKZ                                                            &cur_CUT_v1_TKZ  &msc SCRL_LEFT  &msc SCRL_UP  &msc SCRL_DOWN  &msc SCRL_RIGHT    &trans
 &trans    &msc SCRL_UP  &mmv MOVE_LEFT  &mmv MOVE_DOWN  &mmv MOVE_RIGHT   &cur_COPY_v1_TKZ                                                           &cur_COPY_v1_TKZ           &none         &none           &none        &kp K_APP    &trans
 &trans  &msc SCRL_DOWN           &none           &none            &none  &cur_PASTE_v1_TKZ  &mkp MCLK  &kp K_APP  &mkp MB5  &trans  &trans  &trans  &cur_PASTE_v1_TKZ  &mmv MOVE_LEFT  &mmv MOVE_UP  &mmv MOVE_DOWN  &mmv MOVE_RIGHT    &trans
 &trans          &trans          &trans          &trans           &trans                     &mkp LCLK  &mkp RCLK  &mkp MB4  &trans  &trans  &trans                          &mkp LCLK     &mkp RCLK       &mkp MCLK         &mkp MB4  &mkp MB5
            >;
        };

Lmagic {
            bindings = <
 &mstr1_v1_TKZ    &mstr2_v1_TKZ            &none            &none            &none                                                                                  &none   &none   &none  &bt BT_CLR  &bt BT_CLR_ALL
         &to 0            &to 1            &to 2            &none            &none            &none                                                         &none   &none   &none   &none       &none           &none
         &none  &rgb_ug RGB_SPI  &rgb_ug RGB_SAI  &rgb_ug RGB_HUI  &rgb_ug RGB_BRI  &rgb_ug RGB_TOG                                                         &none   &none   &none   &none       &none           &none
   &bootloader  &rgb_ug RGB_SPD  &rgb_ug RGB_SAD  &rgb_ug RGB_HUD  &rgb_ug RGB_BRD  &rgb_ug RGB_EFF                                                         &none   &none   &none   &none       &none     &bootloader
    &sys_reset            &none            &none            &none            &none            &none   &bt_2   &bt_3         &none   &none   &none   &none   &none   &none   &none   &none       &none      &sys_reset
         &none            &none            &none            &none            &none                    &bt_0   &bt_1  &out OUT_USB   &none   &none   &none           &none   &none   &none       &none           &none
            >;
        };

    };
};
